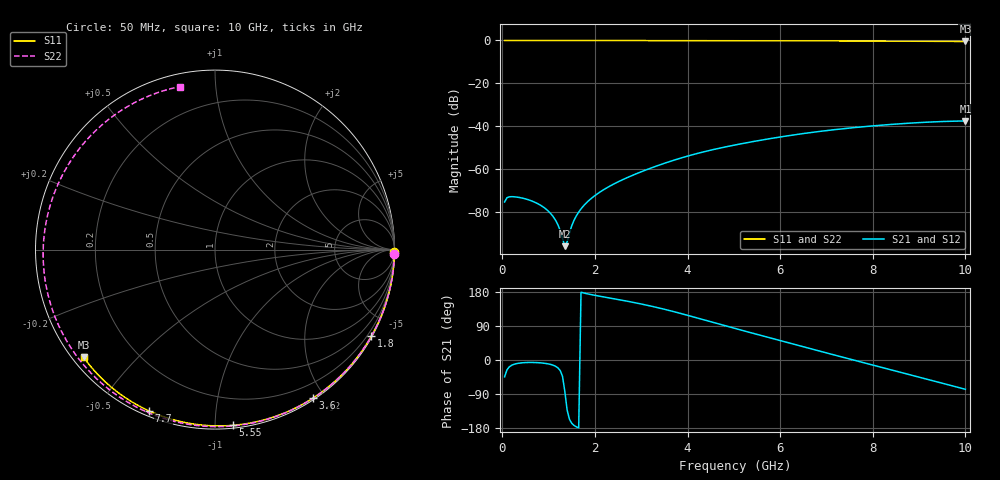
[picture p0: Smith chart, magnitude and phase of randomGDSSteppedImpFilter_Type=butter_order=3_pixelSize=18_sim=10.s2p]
! freq	dB(S11)	phase(S11)	dB(S12)	phase(S12)
!  dB(S21)	phase(S21)	dB(S22)	phase(S22)
!S-par simulation data
#  GHz  S  DB  R 50
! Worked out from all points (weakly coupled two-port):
!   200 points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, 50 MHz to 10 GHz, reference 50 ohm
!   highest |S21| = -37.50 dB at 10 GHz (marker M1); lowest = -95.8 dB at 1.35 GHz (marker M2)
!   lowest |S11| = -0.5 dB at 10 GHz (marker M3), VSWR 36.39, Z = 1.55 - j17.9 ohm
!   |S11| at or under -10 dB: nowhere
!   |S22| runs from -0.6 to 0.0 dB; largest |S21 - S12| = 0
!   S11 on the Smith chart (normalised r, x): 50 MHz: open; 1.8 GHz: 0.03, -3.87; 3.6 GHz: 0.02, -1.86; 5.55 GHz: 0.02, -1.11; 7.7 GHz: 0.02, -0.67; 10 GHz: 0.03, -0.36
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0.05  -0.00 -0.8  -75.19 -44.4  -75.19 -44.4  -0.00 -1.3
0.1  -0.00 -1.6  -73.25 -26.2  -73.25 -26.2  -0.00 -2.6
0.15  -0.00 -2.4  -72.83 -18.3  -72.83 -18.3  -0.00 -4.0
0.35  -0.00 -5.7  -73.04 -8.5  -73.04 -8.5  -0.01 -9.2
0.7  -0.01 -11.4  -75.31 -6.7  -75.31 -6.7  -0.02 -18.4
1.05  -0.02 -17.0  -80.72 -11.9  -80.72 -11.9  -0.03 -27.4
1.35  -0.03 -21.8  -95.79 -82.5  -95.79 -82.5  -0.04 -35.1
1.65  -0.03 -26.6  -79.91 -179.1  -79.91 -179.1  -0.05 -42.7
1.75  -0.04 -28.2  -77.13 177.1  -77.13 177.1  -0.06 -45.2
1.8  -0.04 -29.0  -75.97 175.6  -75.97 175.6  -0.06 -46.5
2.05  -0.04 -32.9  -71.44 169.5  -71.44 169.5  -0.07 -52.7
2.4  -0.05 -38.3  -66.93 161.8  -66.93 161.8  -0.08 -61.4
3.4  -0.07 -53.5  -57.94 136.9  -57.94 136.9  -0.11 -85.3
3.6  -0.08 -56.5  -56.48 130.9  -56.48 130.9  -0.12 -89.9
4.3  -0.09 -66.7  -52.13 107.8  -52.13 107.8  -0.15 -106.0
5.05  -0.12 -77.3  -48.56 82.4  -48.56 82.4  -0.19 -123.0
5.55  -0.14 -84.2  -46.56 66.0  -46.56 66.0  -0.22 -134.3
6.7  -0.19 -99.5  -42.77 28.5  -42.77 28.5  -0.30 -160.8
7.7  -0.26 -112.2  -40.37 -3.8  -40.37 -3.8  -0.40 174.4
8.35  -0.31 -120.3  -39.17 -24.5  -39.17 -24.5  -0.47 156.6
9.15  -0.38 -130.2  -38.07 -49.9  -38.07 -49.9  -0.56 132.3
10  -0.48 -140.6  -37.50 -77.3  -37.50 -77.3  -0.64 102.1
